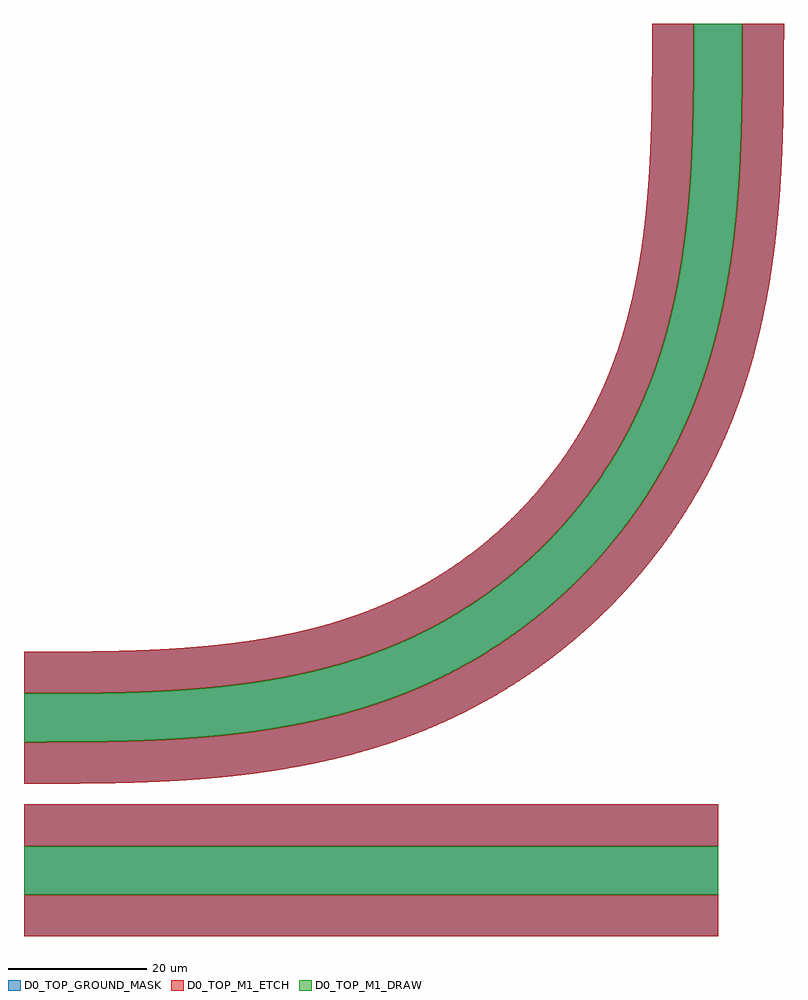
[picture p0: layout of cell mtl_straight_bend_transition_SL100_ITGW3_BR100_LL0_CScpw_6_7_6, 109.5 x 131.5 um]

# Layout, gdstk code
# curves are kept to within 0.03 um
import gdstk
lib = gdstk.Library(unit=1e-6, precision=1e-09)
def R(c, l, rs):  # rectangles x0, y0, x1, y1
    for r in rs: c.add(gdstk.rectangle(r[:2], r[2:], *l))
def P(c, l, *ps):  # polygons
    for p in ps: c.add(gdstk.Polygon(p, *l))
D0_TOP_M1_DRAW = (1, 0)
D0_TOP_M1_ETCH = (1, 1)
D0_TOP_GROUND_MASK = (110, 0)

unnamed_2 = lib.new_cell('Unnamed_2')
R(unnamed_2, D0_TOP_M1_DRAW, [(0,-3.5,100,3.5)])
R(unnamed_2, D0_TOP_M1_ETCH, [(0,-9.5,100,-3.5), (0,3.5,100,9.5)])
R(unnamed_2, D0_TOP_GROUND_MASK, [(0,-9.5,100,9.5)])

unnamed_3 = lib.new_cell('Unnamed_3')
P(unnamed_3, D0_TOP_M1_DRAW, [(0,-3.5),(0,3.5),(8.499,3.526),(14.83,3.64),(20.597,3.877),(26.063,4.268),(31.098,4.812),(36.081,5.563),(38.486,6.013),(40.873,6.523),(45.092,7.595),(47.416,8.289),(49.351,8.928),(51.619,9.755),(53.503,10.511),(55.717,11.485),(57.439,12.31),(59.361,13.304),(61.251,14.359),(63.105,15.475),(64.817,16.579),(66.702,17.883),(68.338,19.095),(70.037,20.437),(71.594,21.749),(73.112,23.108),(74.769,24.691),(76.283,26.238),(77.831,27.927),(79.158,29.472),(80.594,31.258),(81.819,32.886),(83.065,34.655),(84.322,36.571),(85.448,38.419),(86.575,40.415),(87.576,42.333),(88.515,44.283),(89.44,46.38),(90.904,50.169),(91.673,52.463),(92.3,54.539),(92.904,56.76),(93.477,59.127),(94.347,63.411),(95.121,68.388),(95.72,73.807),(96.101,79.012),(96.36,85.17),(96.474,91.501),(96.5,100),(103.5,100),(103.467,90.764),(103.333,84.161),(103.049,77.932),(102.603,72.227),(101.987,66.925),(101.187,61.901),(100.685,59.329),(100.115,56.765),(99.579,54.615),(98.912,52.207),(98.26,50.08),(97.457,47.704),(96.679,45.611),(95.727,43.276),(94.752,41.094),(93.77,39.07),(92.661,36.953),(91.555,34.995),(90.315,32.951),(89.01,30.949),(87.641,28.99),(86.381,27.299),(84.985,25.536),(83.351,23.603),(81.844,21.933),(80.188,20.21),(78.477,18.541),(76.819,17.021),(74.899,15.373),(73.146,13.963),(71.351,12.607),(69.4,11.227),(67.405,9.911),(65.369,8.659),(63.417,7.542),(61.181,6.357),(58.906,5.248),(56.982,4.384),(54.78,3.474),(52.69,2.684),(50.45,1.912),(48.059,1.166),(45.921,0.563),(43.369,-0.083),(38.641,-1.087),(33.755,-1.892),(30.9,-2.266),(27.908,-2.59),(22.068,-3.049),(15.839,-3.333),(9.236,-3.467)])
P(unnamed_3, D0_TOP_M1_ETCH, [(0,3.5),(0,9.5),(9.356,9.535),(16.197,9.686),(22.658,10.017),(28.374,10.529),(31.188,10.876),(33.609,11.233),(36.361,11.712),(38.84,12.217),(41.285,12.79),(43.578,13.402),(45.722,14.046),(48.16,14.87),(51.292,16.09),(54.354,17.479),(57.334,19.034),(60.028,20.627),(62.827,22.49),(65.7,24.647),(68.269,26.815),(70.715,29.121),(73.03,31.558),(75.208,34.119),(77.242,36.796),(79.063,39.482),(80.796,42.363),(82.419,45.438),(83.774,48.387),(85.011,51.512),(85.774,53.719),(86.533,56.195),(87.21,58.715),(87.783,61.16),(88.288,63.639),(88.767,66.391),(89.124,68.812),(89.471,71.626),(89.983,77.342),(90.314,83.803),(90.465,90.644),(90.5,100),(96.5,100),(96.474,91.501),(96.36,85.17),(96.123,79.403),(95.732,73.937),(95.188,68.902),(94.437,63.919),(93.987,61.514),(93.477,59.127),(92.405,54.908),(91.711,52.584),(91.072,50.649),(90.245,48.381),(89.489,46.497),(88.515,44.283),(87.69,42.561),(86.696,40.639),(85.641,38.749),(84.525,36.895),(83.421,35.183),(82.117,33.298),(80.905,31.662),(79.563,29.963),(78.251,28.406),(76.892,26.888),(75.309,25.231),(73.762,23.717),(72.073,22.169),(70.528,20.842),(68.742,19.406),(67.114,18.181),(65.345,16.935),(63.429,15.678),(61.581,14.552),(59.585,13.425),(57.667,12.424),(55.717,11.485),(53.62,10.56),(49.831,9.096),(47.537,8.327),(45.461,7.7),(43.24,7.096),(40.873,6.523),(36.589,5.653),(31.612,4.879),(26.193,4.28),(20.988,3.899),(14.83,3.64),(8.499,3.526)],
  [(0,-9.5),(0,-3.5),(10.312,-3.454),(18.003,-3.255),(21.254,-3.097),(24.783,-2.862),(27.908,-2.59),(30.9,-2.266),(33.755,-1.892),(36.878,-1.403),(39.86,-0.851),(42.831,-0.209),(45.385,0.421),(48.059,1.166),(50.714,1.999),(53.214,2.876),(56.982,4.384),(60.553,6.041),(64.153,7.954),(67.642,10.062),(71.01,12.359),(74.028,14.661),(76.819,17.021),(79.79,19.812),(82.509,22.658),(83.903,24.241),(85.339,25.972),(87.641,28.99),(89.938,32.358),(92.046,35.847),(93.896,39.321),(95.504,42.76),(97.027,46.524),(97.957,49.154),(98.794,51.807),(99.579,54.615),(100.178,57.035),(100.851,60.14),(101.356,62.85),(101.833,65.838),(102.266,69.1),(102.59,72.092),(102.862,75.217),(103.097,78.746),(103.255,81.997),(103.454,89.688),(103.5,100),(109.5,100),(109.462,90.29),(109.307,83.279),(109.003,77.005),(108.491,70.801),(108.154,67.819),(107.749,64.826),(106.875,59.679),(105.851,54.954),(105.193,52.38),(104.46,49.811),(103.742,47.536),(102.907,45.129),(101.996,42.737),(101.063,40.498),(99.931,38.008),(98.784,35.693),(97.71,33.683),(96.425,31.442),(95.068,29.243),(93.641,27.09),(92.145,24.983),(90.769,23.166),(89.051,21.037),(87.665,19.423),(85.925,17.513),(84.232,15.768),(82.487,14.075),(80.577,12.335),(78.963,10.949),(76.834,9.231),(75.017,7.855),(72.91,6.359),(70.757,4.932),(68.558,3.575),(66.317,2.29),(64.307,1.216),(61.992,0.069),(59.502,-1.063),(57.263,-1.996),(54.871,-2.907),(52.464,-3.742),(50.189,-4.46),(47.62,-5.193),(45.046,-5.851),(40.321,-6.875),(35.174,-7.749),(32.181,-8.154),(29.199,-8.491),(22.995,-9.003),(16.721,-9.307),(9.71,-9.462)])
P(unnamed_3, D0_TOP_GROUND_MASK, [(0,-9.5),(0,9.5),(8.574,9.527),(14.787,9.641),(20.012,9.854),(25.033,10.201),(29.969,10.717),(34.81,11.432),(37.191,11.873),(39.425,12.347),(43.236,13.306),(45.162,13.871),(47.28,14.561),(49.142,15.232),(50.972,15.956),(52.674,16.692),(54.562,17.581),(57.94,19.376),(59.733,20.444),(61.392,21.507),(63.204,22.758),(64.695,23.862),(66.241,25.084),(67.835,26.431),(69.212,27.674),(70.715,29.121),(72.168,30.619),(73.569,32.165),(75.997,35.121),(77.242,36.796),(78.3,38.319),(79.373,39.972),(80.508,41.859),(81.575,43.786),(82.419,45.438),(83.308,47.326),(84.044,49.028),(84.768,50.858),(85.439,52.72),(86.129,54.838),(86.694,56.764),(87.653,60.575),(88.127,62.809),(88.568,65.19),(89.283,70.031),(89.799,74.967),(90.146,79.988),(90.359,85.213),(90.473,91.426),(90.5,100),(109.5,100),(109.462,90.29),(109.307,83.279),(109.003,77.005),(108.491,70.801),(108.154,67.819),(107.749,64.826),(106.875,59.679),(105.851,54.954),(105.193,52.38),(104.46,49.811),(103.742,47.536),(102.907,45.129),(101.996,42.737),(101.063,40.498),(99.931,38.008),(98.784,35.693),(97.71,33.683),(96.425,31.442),(95.068,29.243),(93.641,27.09),(92.145,24.983),(90.769,23.166),(89.051,21.037),(87.665,19.423),(85.925,17.513),(84.232,15.768),(82.487,14.075),(80.577,12.335),(78.963,10.949),(76.834,9.231),(75.017,7.855),(72.91,6.359),(70.757,4.932),(68.558,3.575),(66.317,2.29),(64.307,1.216),(61.992,0.069),(59.502,-1.063),(57.263,-1.996),(54.871,-2.907),(52.464,-3.742),(50.189,-4.46),(47.62,-5.193),(45.046,-5.851),(40.321,-6.875),(35.174,-7.749),(32.181,-8.154),(29.199,-8.491),(22.995,-9.003),(16.721,-9.307),(9.71,-9.462)])

mtl_straight_bend_transi = lib.new_cell('mtl_straight_bend_transition_SL100_ITGW3_BR100_LL0_CScpw_6_7_6')
mtl_straight_bend_transi.add(gdstk.Reference(unnamed_2, (0,-11)))
mtl_straight_bend_transi.add(gdstk.Reference(unnamed_3, (0,11)))

lib.write_gds('mtl_straight_bend_transition_SL100_ITGW3_BR100_LL0_CScpw_6_7_6.gds')
